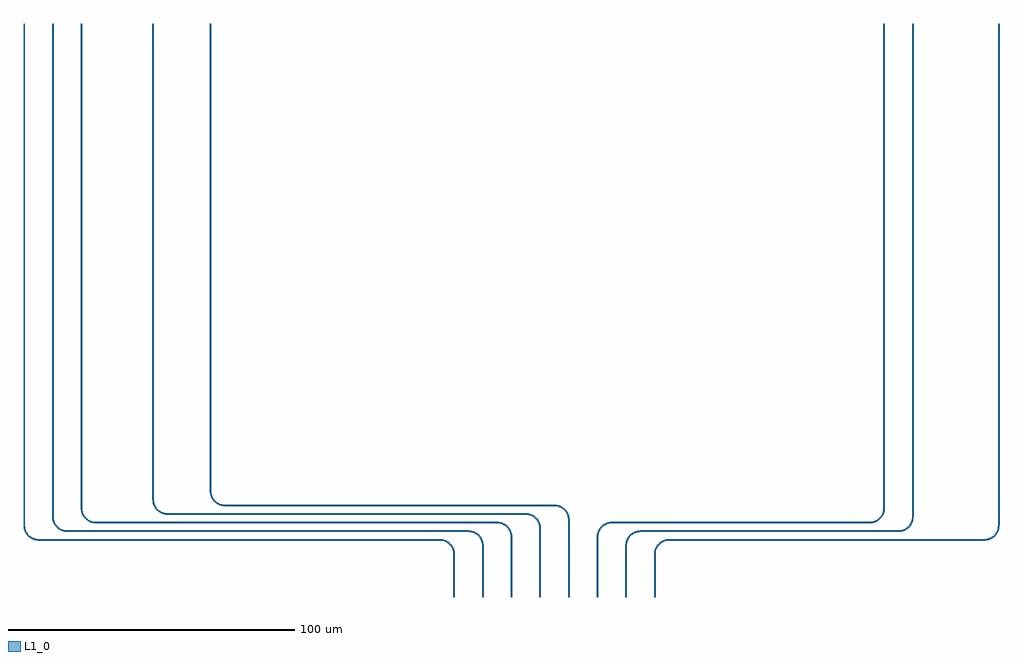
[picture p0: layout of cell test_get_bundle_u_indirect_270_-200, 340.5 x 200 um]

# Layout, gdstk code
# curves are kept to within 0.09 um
from math import pi, radians
import gdstk
lib = gdstk.Library(unit=1e-6, precision=1e-09)
def R(c, l, rs):  # rectangles x0, y0, x1, y1
    for r in rs: c.add(gdstk.rectangle(r[:2], r[2:], *l))
def P(c, l, *ps):  # polygons
    for p in ps: c.add(gdstk.Polygon(p, *l))
L1_0 = (1, 0)

bend_circular_964457f5 = lib.new_cell('bend_circular_964457f5')
P(bend_circular_964457f5, L1_0, [(0,-0.25),(1.092,-0.135),(2.135,0.204),(3.086,0.753),(3.712,1.288),(4.247,1.914),(4.796,2.865),(5.135,3.908),(5.25,5),(4.75,5),(4.646,4.012),(4.339,3.068),(3.984,2.413),(3.359,1.641),(2.587,1.016),(1.932,0.661),(0.988,0.354),(0,0.25)])

straight_7526c3c0 = lib.new_cell('straight_7526c3c0')
R(straight_7526c3c0, L1_0, [(0,-0.25,175,0.25)])

straight_10e421a1 = lib.new_cell('straight_10e421a1')
R(straight_10e421a1, L1_0, [(0,-0.25,140,0.25)])

straight_75db68dd = lib.new_cell('straight_75db68dd')
R(straight_75db68dd, L1_0, [(0,-0.25,15,0.25)])

straight_1cf8b280 = lib.new_cell('straight_1cf8b280')
R(straight_1cf8b280, L1_0, [(0,-0.25,172,0.25)])

straight_bb729cf3 = lib.new_cell('straight_bb729cf3')
R(straight_bb729cf3, L1_0, [(0,-0.25,18,0.25)])

straight_083b1092 = lib.new_cell('straight_083b1092')
R(straight_083b1092, L1_0, [(0,-0.25,169,0.25)])

straight_7f4a1dcc = lib.new_cell('straight_7f4a1dcc')
R(straight_7f4a1dcc, L1_0, [(0,-0.25,21,0.25)])

straight_388231ce = lib.new_cell('straight_388231ce')
R(straight_388231ce, L1_0, [(0,-0.25,166,0.25)])

straight_17340a43 = lib.new_cell('straight_17340a43')
R(straight_17340a43, L1_0, [(0,-0.25,125,0.25)])

straight_97db267d = lib.new_cell('straight_97db267d')
R(straight_97db267d, L1_0, [(0,-0.25,24,0.25)])

straight_6e4f482f = lib.new_cell('straight_6e4f482f')
R(straight_6e4f482f, L1_0, [(0,-0.25,163,0.25)])

straight_9a4f873b = lib.new_cell('straight_9a4f873b')
R(straight_9a4f873b, L1_0, [(0,-0.25,115,0.25)])

straight_b84123ef = lib.new_cell('straight_b84123ef')
R(straight_b84123ef, L1_0, [(0,-0.25,27,0.25)])

straight_2eae6bc1 = lib.new_cell('straight_2eae6bc1')
R(straight_2eae6bc1, L1_0, [(0,-0.25,90,0.25)])

straight_53e4af1a = lib.new_cell('straight_53e4af1a')
R(straight_53e4af1a, L1_0, [(0,-0.25,110,0.25)])

test_get_bundle_u_indire = lib.new_cell('test_get_bundle_u_indirect_270_-200')
test_get_bundle_u_indire.add(gdstk.Reference(bend_circular_964457f5, (-100,-175), rotation=3*pi/2))
test_get_bundle_u_indire.add(gdstk.Reference(bend_circular_964457f5, (45,-180), x_reflection=True))
test_get_bundle_u_indire.add(gdstk.Reference(straight_7526c3c0, (-100,0), rotation=3*pi/2))
test_get_bundle_u_indire.add(gdstk.Reference(straight_10e421a1, (-95,-180)))
test_get_bundle_u_indire.add(gdstk.Reference(straight_75db68dd, (50,-185), rotation=3*pi/2))
test_get_bundle_u_indire.add(gdstk.Reference(bend_circular_964457f5, (-90,-172), rotation=3*pi/2))
test_get_bundle_u_indire.add(gdstk.Reference(bend_circular_964457f5, (55,-177), x_reflection=True))
test_get_bundle_u_indire.add(gdstk.Reference(straight_1cf8b280, (-90,0), rotation=3*pi/2))
test_get_bundle_u_indire.add(gdstk.Reference(straight_10e421a1, (-85,-177)))
test_get_bundle_u_indire.add(gdstk.Reference(straight_bb729cf3, (60,-182), rotation=3*pi/2))
test_get_bundle_u_indire.add(gdstk.Reference(bend_circular_964457f5, (-80,-169), rotation=3*pi/2))
test_get_bundle_u_indire.add(gdstk.Reference(bend_circular_964457f5, (65,-174), x_reflection=True))
test_get_bundle_u_indire.add(gdstk.Reference(straight_083b1092, (-80,0), rotation=3*pi/2))
test_get_bundle_u_indire.add(gdstk.Reference(straight_10e421a1, (-75,-174)))
test_get_bundle_u_indire.add(gdstk.Reference(straight_7f4a1dcc, (70,-179), rotation=3*pi/2))
test_get_bundle_u_indire.add(gdstk.Reference(bend_circular_964457f5, (-55,-166), rotation=3*pi/2))
test_get_bundle_u_indire.add(gdstk.Reference(bend_circular_964457f5, (75,-171), x_reflection=True))
test_get_bundle_u_indire.add(gdstk.Reference(straight_388231ce, (-55,0), rotation=3*pi/2))
test_get_bundle_u_indire.add(gdstk.Reference(straight_17340a43, (-50,-171)))
test_get_bundle_u_indire.add(gdstk.Reference(straight_97db267d, (80,-176), rotation=3*pi/2))
test_get_bundle_u_indire.add(gdstk.Reference(bend_circular_964457f5, (-35,-163), rotation=3*pi/2))
test_get_bundle_u_indire.add(gdstk.Reference(bend_circular_964457f5, (85,-168), x_reflection=True))
test_get_bundle_u_indire.add(gdstk.Reference(straight_6e4f482f, (-35,0), rotation=3*pi/2))
test_get_bundle_u_indire.add(gdstk.Reference(straight_9a4f873b, (-30,-168)))
test_get_bundle_u_indire.add(gdstk.Reference(straight_b84123ef, (90,-173), rotation=3*pi/2))
test_get_bundle_u_indire.add(gdstk.Reference(bend_circular_964457f5, (200,-169), rotation=3*pi/2, x_reflection=True))
test_get_bundle_u_indire.add(gdstk.Reference(bend_circular_964457f5, (105,-174), rotation=pi))
test_get_bundle_u_indire.add(gdstk.Reference(straight_083b1092, (200,0), rotation=3*pi/2))
test_get_bundle_u_indire.add(gdstk.Reference(straight_2eae6bc1, (195,-174), rotation=pi))
test_get_bundle_u_indire.add(gdstk.Reference(straight_7f4a1dcc, (100,-179), rotation=3*pi/2))
test_get_bundle_u_indire.add(gdstk.Reference(bend_circular_964457f5, (210,-172), rotation=3*pi/2, x_reflection=True))
test_get_bundle_u_indire.add(gdstk.Reference(bend_circular_964457f5, (115,-177), rotation=pi))
test_get_bundle_u_indire.add(gdstk.Reference(straight_1cf8b280, (210,0), rotation=3*pi/2))
test_get_bundle_u_indire.add(gdstk.Reference(straight_2eae6bc1, (205,-177), rotation=pi))
test_get_bundle_u_indire.add(gdstk.Reference(straight_bb729cf3, (110,-182), rotation=3*pi/2))
test_get_bundle_u_indire.add(gdstk.Reference(bend_circular_964457f5, (240,-175), rotation=3*pi/2, x_reflection=True))
test_get_bundle_u_indire.add(gdstk.Reference(bend_circular_964457f5, (125,-180), rotation=pi))
test_get_bundle_u_indire.add(gdstk.Reference(straight_7526c3c0, (240,0), rotation=3*pi/2))
test_get_bundle_u_indire.add(gdstk.Reference(straight_53e4af1a, (235,-180), rotation=pi))
test_get_bundle_u_indire.add(gdstk.Reference(straight_75db68dd, (120,-185), rotation=3*pi/2))

lib.write_gds('test_get_bundle_u_indirect_270_-200.gds')
